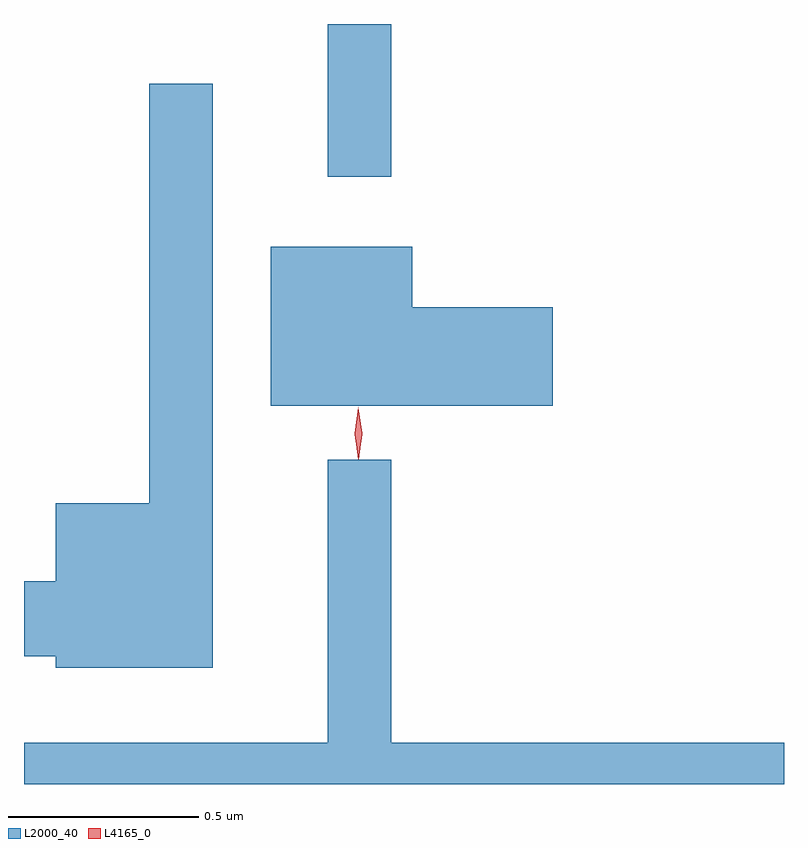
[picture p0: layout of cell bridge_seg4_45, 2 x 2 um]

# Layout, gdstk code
import gdstk
lib = gdstk.Library(unit=1e-6, precision=1e-09)
def R(c, l, rs):  # rectangles x0, y0, x1, y1
    for r in rs: c.add(gdstk.rectangle(r[:2], r[2:], *l))
def P(c, l, *ps):  # polygons
    for p in ps: c.add(gdstk.Polygon(p, *l))
L2000_40 = (2000, 40)
L4165_0 = (4165, 0)

bridge_seg4_45 = lib.new_cell('bridge_seg4_45')
R(bridge_seg4_45, L2000_40, [(1316.761,1356.433,1316.929,1356.835)])
P(bridge_seg4_45, L2000_40, [(1316.459,1356.678),(1316.291,1356.678),(1316.291,1355.574),(1316.046,1355.574),(1316.046,1355.369),(1315.962,1355.369),(1315.962,1355.171),(1316.046,1355.171),(1316.046,1355.141),(1316.459,1355.141)],
  [(1317.354,1356.089),(1316.984,1356.089),(1316.984,1356.249),(1316.611,1356.249),(1316.611,1355.831),(1317.354,1355.831)],
  [(1317.962,1354.944),(1316.929,1354.944),(1316.929,1355.688),(1316.761,1355.688),(1316.761,1354.944),(1315.962,1354.944),(1315.962,1354.835),(1317.962,1354.835)])
P(bridge_seg4_45, L4165_0, [(1316.842,1355.69),(1316.832,1355.758),(1316.841,1355.825),(1316.842,1355.826),(1316.842,1355.825),(1316.852,1355.758),(1316.843,1355.69),(1316.843,1355.69)],
  [(1316.843,1355.693),(1316.842,1355.694),(1316.832,1355.756),(1316.841,1355.819),(1316.841,1355.82),(1316.842,1355.819),(1316.852,1355.756),(1316.843,1355.694)])

lib.write_gds('bridge_seg4_45.gds')
